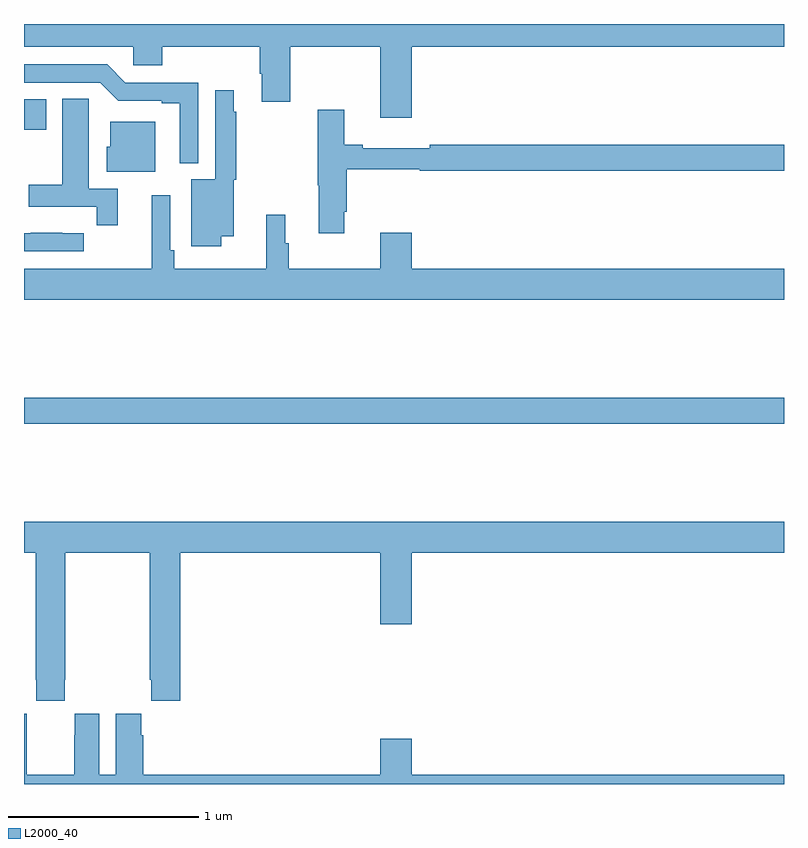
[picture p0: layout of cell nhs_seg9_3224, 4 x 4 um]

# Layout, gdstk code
import gdstk
lib = gdstk.Library(unit=1e-6, precision=1e-09)
def R(c, l, rs):  # rectangles x0, y0, x1, y1
    for r in rs: c.add(gdstk.rectangle(r[:2], r[2:], *l))
def P(c, l, *ps):  # polygons
    for p in ps: c.add(gdstk.Polygon(p, *l))
L2000_40 = (2000, 40)

nhs_seg9_3224 = lib.new_cell('nhs_seg9_3224')
R(nhs_seg9_3224, L2000_40, [(295,1234.396,299,1234.532), (295,1235.944,295.117,1236.103)])
P(nhs_seg9_3224, L2000_40, [(297.04,1236.38),(299,1236.38),(299,1236.5),(295,1236.5),(295,1236.38),(295.575,1236.38),(295.575,1236.282),(295.727,1236.282),(295.727,1236.38),(296.24,1236.38),(296.24,1236.238),(296.252,1236.238),(296.252,1236.09),(296.4,1236.09),(296.4,1236.38),(296.876,1236.38),(296.876,1236.006),(297.04,1236.006)],
  [(295.917,1236.192),(295.533,1236.192),(295.437,1236.288),(295,1236.288),(295,1236.192),(295.401,1236.192),(295.497,1236.096),(295.724,1236.096),(295.724,1236.084),(295.82,1236.084),(295.82,1235.768),(295.917,1235.768)],
  [(296.038,1235.384),(296.104,1235.384),(296.104,1235.679),(296.116,1235.679),(296.116,1236.038),(296.104,1236.038),(296.104,1236.151),(296.007,1236.151),(296.007,1235.683),(295.88,1235.683),(295.88,1235.331),(296.038,1235.331)],
  [(295.493,1235.634),(295.342,1235.634),(295.342,1235.996),(295.341,1235.996),(295.341,1236.107),(295.202,1236.107),(295.202,1235.655),(295.025,1235.655),(295.025,1235.538),(295.384,1235.538),(295.384,1235.442),(295.493,1235.442)],
  [(296.686,1235.512),(296.699,1235.512),(296.699,1235.736),(297.082,1235.736),(297.082,1235.728),(299,1235.728),(299,1235.864),(297.136,1235.864),(297.136,1235.845),(296.782,1235.845),(296.782,1235.864),(296.686,1235.864),(296.686,1236.049),(296.545,1236.049),(296.545,1235.651),(296.552,1235.651),(296.552,1235.4),(296.686,1235.4)],
  [(295.69,1235.986),(295.454,1235.986),(295.454,1235.853),(295.436,1235.853),(295.436,1235.723),(295.69,1235.723)],
  [(299,1235.212),(297.04,1235.212),(297.04,1235.401),(296.876,1235.401),(296.876,1235.212),(296.393,1235.212),(296.393,1235.346),(296.374,1235.346),(296.374,1235.497),(296.275,1235.497),(296.275,1235.212),(295.79,1235.212),(295.79,1235.308),(295.77,1235.308),(295.77,1235.599),(295.673,1235.599),(295.673,1235.212),(295,1235.212),(295,1235.048),(299,1235.048)],
  [(295.315,1235.4),(295.202,1235.4),(295.202,1235.401),(295.036,1235.401),(295.036,1235.4),(295,1235.4),(295,1235.304),(295.315,1235.304)],
  [(295.215,1233.049),(295.218,1233.049),(295.218,1233.716),(295.663,1233.716),(295.663,1233.049),(295.669,1233.049),(295.669,1232.937),(295.823,1232.937),(295.823,1233.716),(296.876,1233.716),(296.876,1233.342),(297.04,1233.342),(297.04,1233.716),(299,1233.716),(299,1233.88),(295,1233.88),(295,1233.716),(295.063,1233.716),(295.063,1233.049),(295.065,1233.049),(295.065,1232.937),(295.215,1232.937)],
  [(295.014,1232.756),(295.014,1232.869),(295,1232.869),(295,1232.5),(299,1232.5),(299,1232.548),(297.04,1232.548),(297.04,1232.737),(296.876,1232.737),(296.876,1232.548),(295.628,1232.548),(295.628,1232.756),(295.618,1232.756),(295.618,1232.869),(295.484,1232.869),(295.484,1232.548),(295.396,1232.548),(295.396,1232.869),(295.266,1232.869),(295.266,1232.756),(295.265,1232.756),(295.265,1232.548),(295.015,1232.548),(295.015,1232.756)])

lib.write_gds('nhs_seg9_3224.gds')
